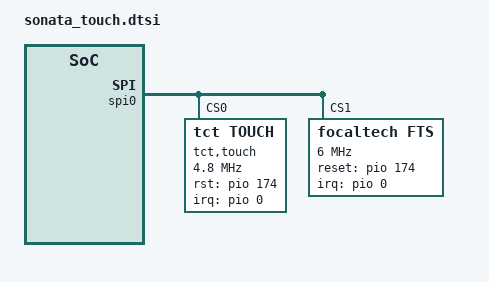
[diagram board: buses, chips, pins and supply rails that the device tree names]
/*
 * Copyright (C) 2010 - 2018 Novatek, Inc.
 *
 * $Revision: 52935 $
 * $Date: 2019-11-11 10:24:25 +0800 (Mon, 11 Nov 2019) $
 *
 * This program is free software; you can redistribute it and/or modify
 * it under the terms of the GNU General Public License as published by
 * the Free Software Foundation; either version 2 of the License, or
 * (at your option) any later version.
 *
 * This program is distributed in the hope that it will be useful, but WITHOUT
 * ANY WARRANTY; without even the implied warranty of MERCHANTABILITY or
 * FITNESS FOR A PARTICULAR PURPOSE.  See the GNU General Public License for
 * more details.
 *
 */

&spi0 {
        #address-cells = <1>;
        #size-cells = <0>;
        status = "okay";
		mediatek,pad-select = <0>, <1>;
        tct,touch@0 {
            status = "okay";
            compatible = "tct,touch";
            reg = <0x0>;
            interrupt-parent = <&pio>;
            interrupts = <0 IRQ_TYPE_EDGE_FALLING 0 0>;
            
            spi-max-frequency = <4800000>;
			/*Begind For ICNL9911C*/
			chipone,rst-gpio = <&pio 174 0x00>;
			chipone,irq-gpio = <&pio 0 0x00>;
			chipone,x-res = <720>;
			chipone,y-res = <1600>;
			/*End For ICNL9911C*/

			        /* For tp selftest */
			chipone,test-reset-pin;
			//chipone,test-int-pin;
			chipone,test-rawdata;
			chipone,test-rawdata-frames      = <1>;
			chipone,rawdata-min              = <1202>;	//base2000, ±40%
			chipone,rawdata-max              = <2903>;
			chipone,test-noise;
			chipone,test-noise-frames        = <30>;
			chipone,noise-max                = <79>;
			chipone,test-open;
			chipone,open-min                 = <1900>;
			chipone,test-short;
			chipone,short-min                = <1500>;
			chipone,test-compensate-cap;
			chipone,compensate-cap-min       = <1>;
			chipone,compensate-cap-max       = <126>;

            
    };
	focaltech@1 {
                        status = "okay";
			compatible = "focaltech,fts";
			reg = <0x1>;
			spi-max-frequency = <6000000>;
			interrupt-parent = <&pio>;
			interrupts = <0 IRQ_TYPE_EDGE_FALLING 0 0>;
			focaltech,reset-gpio = <&pio 174 0x00>; 
			focaltech,irq-gpio = <&pio 0 0x00>; 	
			focaltech,max-touch-number = <10>;			
			focaltech,display-coords =  <0 0 720 1600>;
		};
};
